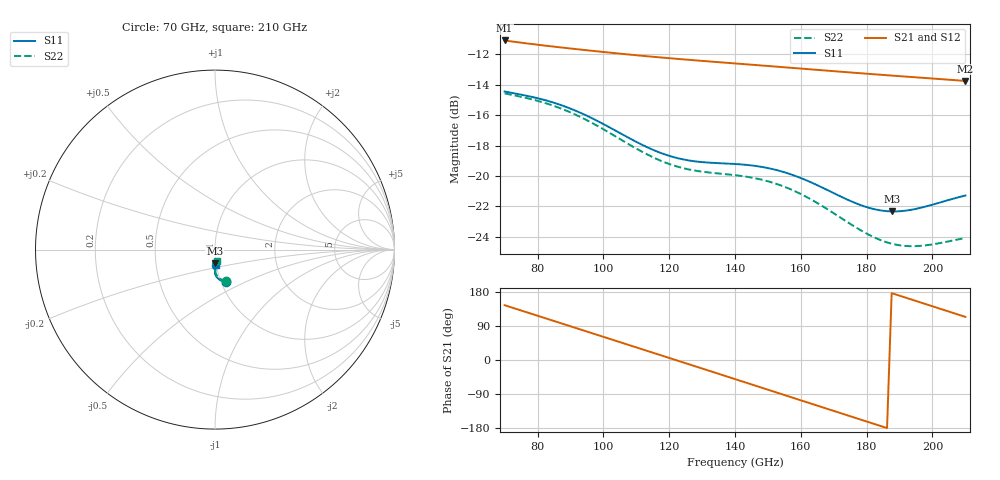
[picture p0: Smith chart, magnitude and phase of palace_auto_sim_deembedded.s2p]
! Created with skrf 1.11.0 (http://scikit-rf.org).
# GHz S DB R 50.0
!freq dBS11 angS11 dBS21 angS21 dBS12 angS12 dBS22 angS22
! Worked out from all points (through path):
!   101 points, 70 GHz to 210 GHz, reference 50 ohm
!   highest |S21| = -11.08 dB at 70 GHz (marker M1); lowest = -13.7 dB at 210 GHz (marker M2)
!   group delay of S21, straight-line fit = 7.76 ps
!   lowest |S11| = -22.3 dB at 187.6 GHz (marker M3), VSWR 1.17, Z = 49.3 - j7.58 ohm
!   |S11| at or under -10 dB: start of sweep to end of sweep
!   |S22| runs from -24.6 to -14.6 dB; largest |S21 - S12| = 4e-14
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70  -14.44 -71.8  -11.08 144.5  -11.08 144.5  -14.56 -70.5
77  -14.74 -74.8  -11.29 125.2  -11.29 125.2  -14.89 -73.5
82.6  -15.03 -78.0  -11.43 109.6  -11.43 109.6  -15.22 -76.7
88.2  -15.42 -81.4  -11.57 94.0  -11.57 94.0  -15.65 -80.2
93.8  -15.92 -84.6  -11.70 78.4  -11.70 78.4  -16.20 -83.5
99.4  -16.51 -87.4  -11.83 62.8  -11.83 62.8  -16.85 -86.2
106.4  -17.34 -89.5  -11.98 43.3  -11.98 43.3  -17.74 -88.4
112  -17.97 -90.1  -12.10 27.7  -12.10 27.7  -18.43 -89.0
117.6  -18.50 -89.8  -12.21 12.1  -12.21 12.1  -19.01 -88.6
123.2  -18.86 -89.0  -12.31 -3.5  -12.31 -3.5  -19.42 -87.8
128.8  -19.06 -88.4  -12.41 -19.1  -12.41 -19.1  -19.68 -87.3
140  -19.21 -89.5  -12.60 -50.4  -12.60 -50.4  -19.94 -88.7
145.6  -19.32 -91.3  -12.69 -66.0  -12.69 -66.0  -20.12 -90.6
151.2  -19.53 -93.5  -12.78 -81.7  -12.78 -81.7  -20.42 -93.0
156.8  -19.88 -95.6  -12.88 -97.4  -12.88 -97.4  -20.86 -95.5
163.8  -20.48 -97.6  -13.00 -117.0  -13.00 -117.0  -21.63 -97.9
170.8  -21.21 -98.0  -13.12 -136.6  -13.12 -136.6  -22.56 -98.7
176.4  -21.76 -96.7  -13.21 -152.3  -13.21 -152.3  -23.33 -97.6
182  -22.17 -94.2  -13.30 -167.9  -13.30 -167.9  -24.00 -94.9
187.6  -22.33 -91.1  -13.39 176.4  -13.39 176.4  -24.45 -91.0
197.4  -22.04 -86.7  -13.55 149.0  -13.55 149.0  -24.57 -84.3
210  -21.28 -86.7  -13.75 113.7  -13.75 113.7  -24.07 -80.1
